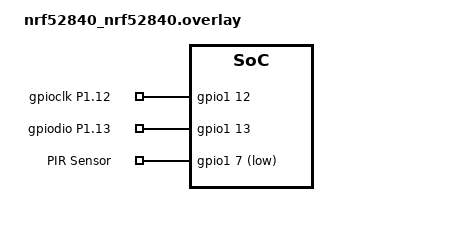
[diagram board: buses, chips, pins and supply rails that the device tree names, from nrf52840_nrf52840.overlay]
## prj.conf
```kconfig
CONFIG_GPIO=y
CONFIG_PRINTK=y
CONFIG_LOG=y
CONFIG_LED=y
```

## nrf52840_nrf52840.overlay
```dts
/ {
    aliases {
        pir = &pir0;
        gpio-clk = &gpioclk;
        gpio-dio = &gpiodio;
    };
    
    gpiocustom{
      status = "okay";
      compatible = "gpio-keys";
  
      gpioclk: gpioclk{
        gpios = <&gpio1 12 GPIO_ACTIVE_HIGH>;
        label = "gpioclk P1.12";
      };
  
      gpiodio: gpiodio{
        gpios = <&gpio1 13 GPIO_ACTIVE_HIGH>;
        label = "gpiodio P1.13";
    }; 
  };

  pir{
    compatible = "gpio-keys";
    pir0: pir0 {
      gpios = <&gpio1 7 (GPIO_ACTIVE_LOW | GPIO_PULL_UP)>;
      label = "PIR Sensor";
    };
  };
};
```

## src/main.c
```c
#include <zephyr/kernel.h>
#include <zephyr/logging/log.h>
#include "batterydisplay.h"
#include "pir.h"
#include "value.h"

LOG_MODULE_REGISTER(main);

#define DELAY_TIME K_MSEC(100)

int main(void)
{
    int ret = batterydisplay_init();
    if (ret != DK_OK) {
        LOG_ERR("Battery display initialization failed");
        return DK_ERR;
    }

    pir_init();

    set_brightness(BRIGHTNESS_LEVEL1);
    display_clear();

    while (1) {
        if (motion_detected) {
            // Turn on the battery display and show levels from 0 to 7
            for (uint8_t level = 0; level <= 7; level++) {
                display_level(level);
                k_sleep(K_MSEC(500)); // Display each level for 500 milliseconds
            }
            motion_detected = false; // Reset the motion detected flag
        } else {
            // Turn off the battery display
            display_clear();
        }

        k_sleep(DELAY_TIME);
    }

    return DK_OK;
}
```

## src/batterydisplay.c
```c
#include "batterydisplay.h"
#include "value.h"

static int8_t leveltab[9] = {0x00,0x40,0x60,0x70,0x78,0x7c,0x7e,0x7f};//Level 0~7
static uint8_t cmd_dispctrl = DISPLAY_BRIGHTEST + BRIGHTNESS_LEVEL1;
static int setlevel = 0;

// Function to initialize the battery display
int batterydisplay_init(void)
{
    if (!gpio_is_ready_dt(&clk)) {
		printk("clk GPIO is not ready\n");
		return DK_ERR;
	}

	if(!gpio_is_ready_dt(&dio)) {
		printk("dio GPIO is not ready\n");
		return DK_ERR;
	}

    printk("batterydisplay_init success\n");

    return DK_OK;
}

void set_brightness(int brightness)
{
    cmd_dispctrl = DISPLAY_BRIGHTEST + brightness;
}

void set_level(int level)
{
    setlevel = level;
}

void write_byte(int8_t wr_data)
{
    uint8_t data = wr_data;

    for(uint8_t i = 0; i < 8; i++){
        gpio_pin_configure_dt(&clk, GPIO_OUTPUT);
        bit_delay();

        if(data & 0x01)
            gpio_pin_configure_dt(&dio, GPIO_INPUT);
        else
            gpio_pin_configure_dt(&dio, GPIO_OUTPUT);

        bit_delay();

        gpio_pin_configure_dt(&clk, GPIO_INPUT);
        bit_delay();

        data >>= 1;
    }

    gpio_pin_configure_dt(&clk, GPIO_OUTPUT);
    gpio_pin_configure_dt(&dio, GPIO_INPUT);
    bit_delay();

    gpio_pin_configure_dt(&clk, GPIO_INPUT);
    bit_delay();
    uint8_t ack = gpio_pin_get_dt(&dio);
    if(ack == 0){
        gpio_pin_configure_dt(&dio, GPIO_OUTPUT);
    }

    bit_delay();
    gpio_pin_configure_dt(&clk, GPIO_OUTPUT);
    bit_delay();
}

void start(void)
{
    gpio_pin_configure_dt(&dio, GPIO_OUTPUT);
    bit_delay();
}

void stop(void)
{
    gpio_pin_configure_dt(&dio, GPIO_OUTPUT);
    bit_delay();

    gpio_pin_configure_dt(&clk, GPIO_INPUT);
    bit_delay();

    gpio_pin_configure_dt(&dio, GPIO_INPUT);
    bit_delay();
}

int display_level(uint8_t level)
{
    if (level > 7) {
        printk("Invalid level\n");
        return DK_ERR;
    }

    if (setlevel == level) {
        // printk("Same level\n");
        return DK_OK;
    }

    set_level(level);
    printk("display_level: %d\n", level);

    start();
    write_byte(ADDR_FIXED);
    stop();

    start();
    write_byte(ADDR_CMD_00H);
    write_byte(leveltab[level]);
    stop();

    start();
    write_byte(cmd_dispctrl);
    stop();

    printk("display_level success\n");

    return DK_OK;
}

void display_frame(bool framgeflag)
{
    int8_t segdata;
    if(framgeflag == FRAME_ON)
        segdata = 0x40;
    else
        segdata = 0x00;

    start();
    write_byte(ADDR_AUTO);
    stop();

    start();
    write_byte(ADDR_CMD_01H);
    for(uint8_t i = 0; i < 3; i++){
        write_byte(segdata);
    }
    stop();

    start();
    write_byte(cmd_dispctrl);
    stop();
}

void display_clear(void)
{
    display_level(0);
    display_frame(FRAME_OFF);
}

void bit_delay(void)
{
    k_sleep(K_TICKS(1));
}
```

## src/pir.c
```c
#include "pir.h"
#include <zephyr/logging/log.h>

LOG_MODULE_REGISTER(pir);

#define PIR_NODE DT_ALIAS(pir)

static const struct gpio_dt_spec pir = GPIO_DT_SPEC_GET(PIR_NODE, gpios);
static struct gpio_callback pir_cb_data;
volatile bool motion_detected = false;

void pir_detected(const struct device *dev, struct gpio_callback *cb, uint32_t pins)
{
    motion_detected = true;
    LOG_INF("Motion detected!");
}

void pir_init(void)
{
    int rc;

    if (!device_is_ready(pir.port)) {
        LOG_ERR("PIR sensor GPIO device not ready");
        return;
    }

    rc = gpio_pin_configure_dt(&pir, GPIO_INPUT);
    if (rc < 0) {
        LOG_ERR("Failed to configure PIR sensor GPIO: %d", rc);
        return;
    }

    rc = gpio_pin_interrupt_configure_dt(&pir, GPIO_INT_EDGE_TO_ACTIVE);
    if (rc != 0) {
        LOG_ERR("Error %d: failed to configure interrupt on %s pin %d", rc, pir.port->name, pir.pin);
        return;
    }

    gpio_init_callback(&pir_cb_data, pir_detected, BIT(pir.pin));
    gpio_add_callback(pir.port, &pir_cb_data);
    LOG_INF("PIR sensor initialized and callback set");
}
```

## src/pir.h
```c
#ifndef PIR_H
#define PIR_H

#include <zephyr/drivers/gpio.h>

extern volatile bool motion_detected;

void pir_init(void);
void pir_detected(const struct device *dev, struct gpio_callback *cb, uint32_t pins);

#endif // PIR_H
```
